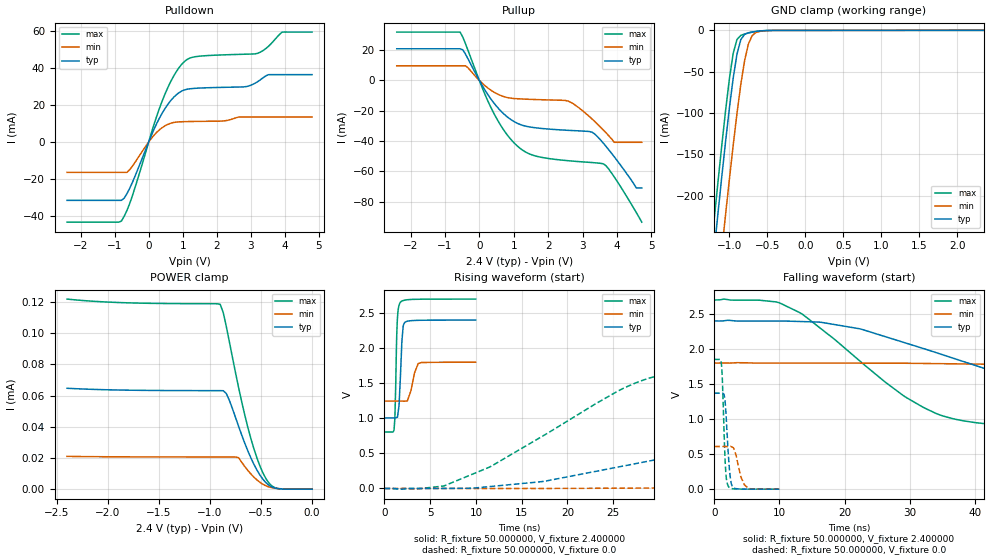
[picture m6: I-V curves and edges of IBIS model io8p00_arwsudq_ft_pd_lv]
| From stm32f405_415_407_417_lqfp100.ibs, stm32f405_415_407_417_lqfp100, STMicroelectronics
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|   Model io8p00_arwsudq_ft_pd_lv
[Model]  io8p00_arwsudq_ft_pd_lv
Model_type I/O
Polarity   Non-Inverting
Enable   Active-Low
Vinl =   0.720000V
Vinh =   1.680000V
Vmeas =  1.200000V
Cref =   50.000000pF
Rref =   100.000000M
Vref =   0.0V
C_comp   2.828000pF   2.774600pF   2.917100pF
[Temperature Range]   25.000000   0.125000k   -40.000000
[Pullup Reference]   2.400000V   1.800000V   2.700000V
[Pulldown Reference]   0.0V   0.0V   0.0V
[POWER Clamp Reference]   2.400000V   1.800000V   2.700000V
[GND Clamp Reference]   0.0V   0.0V   0.0V
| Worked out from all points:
|   slope of the pulldown table from 0 to 0.36 V, typ, clamps not added: 25 ohm
|   slope of the pullup table from 0 to 0.36 V, typ, clamps not added: 27.7 ohm
|   GND clamp passes 1 mA (typ) near -0.62 V on its own axis
|   rising waveform, R_fixture 50.000000, V_fixture 2.400000: 20-80 % time 288ps typ, 617ps min, 205ps max; typ from 1 V to 2.4 V
|   rising waveform, R_fixture 50.000000, V_fixture 0.0: 20-80 % time 30.9ns typ, 81ns min, 14.7ns max; typ from 0 V to 1.37 V
|   falling waveform, R_fixture 50.000000, V_fixture 2.400000: 20-80 % time 29.1ns typ, 75.7ns min, 15.8ns max; typ from 2.4 V to 1 V
|   falling waveform, R_fixture 50.000000, V_fixture 0.0: 20-80 % time 541ps typ, 1ns min, 411ps max; typ from 1.37 V to 0 V
[Pulldown]
|Voltage   I(typ)   I(min)   I(max)
-2.4V     -31.67mA   -16.51mA   -43.52mA
-800mV    -31.67mA   -16.51mA   -42.86mA
-480mV    -21.98mA   -13.17mA   -29.21mA
80mV      3.63mA     1.966mA    5.012mA
480mV     18.15mA    8.738mA    26.02mA
800mV     25.38mA    10.72mA    37.77mA
1.12V     28.53mA    11.02mA    44.6mA
2.8V      29.84mA    13.49mA    47.53mA
3.2V      32.65mA    13.49mA    48.03mA
3.52V     36.46mA    13.49mA    51.84mA
3.92V     36.46mA    13.49mA    59.54mA
4.8V      36.46mA    13.49mA    59.54mA
[Pullup]
|Voltage   I(typ)   I(min)   I(max)
-2.4V     20.89mA    9.66mA     31.89mA
-560mV    20.89mA    9.66mA     31.89mA
-400mV    17.28mA    9.66mA     24.06mA
320mV     -11.75mA   -6.207mA   -17.08mA
960mV     -26.47mA   -11.82mA   -40.02mA
1.52V     -30.88mA   -12.51mA   -49.05mA
2.56V     -32.88mA   -13.48mA   -52.9mA
3.28V     -34.2mA    -25.52mA   -54.18mA
3.6V      -41.32mA   -32.62mA   -54.99mA
3.92V     -50.34mA   -40.8mA    -63.66mA
4.56V     -70.9mA    -40.8mA    -87.12mA
4.72V     -70.9mA    -40.8mA    -93.5mA
[GND_clamp]
|Voltage   I(typ)   I(min)   I(max)
-2.4V     -1.425A    -1.509A    -1.395A
-1.25V    -311.8mA   -402mA     -274.5mA
-1.2V     -266mA     -356.2mA   -228.4mA
-1.15V    -220.9mA   -310.9mA   -183.1mA
-1.1V     -176.9mA   -266.3mA   -139mA
-1.05V    -134.3mA   -222.6mA   -97.01mA
-950mV    -57.82mA   -139.1mA   -27.87mA
-900mV    -28.73mA   -100.5mA   -11.05mA
-850mV    -11.3mA    -65.69mA   -6.068mA
-750mV    -2.863mA   -16.61mA   -3.194mA
-600mV    -761.3uA   -1.176mA   -752.1uA
2.35V     58.09uA    37.92uA    67.25uA
[POWER_clamp]
|Voltage   I(typ)   I(min)   I(max)
-2.4V     64.71uA    21.03uA    121.9uA
-1.86V    63.55uA    20.74uA    119.6uA
-900mV    63.18uA    20.63uA    118.5uA
-870mV    63.14uA    20.63uA    113.2uA
-840mV    61.36uA    20.62uA    104.3uA
-720mV    40.37uA    20.18uA    65.28uA
-630mV    24.69uA    12.08uA    39.85uA
-540mV    12.26uA    5.907uA    20uA
-480mV    6.236uA    3.061uA    10.23uA
-420mV    2.4uA      1.365uA    3.726uA
-360mV    667.9nA    564nA      839.6nA
0V        0A         0A         0A
[Ramp]
| variable   typ   min   max
dV/dt_r  0.82152/30.85408n   0.36215/83.25155n   1.11023/14.65210n
dV/dt_f  0.83652/29.09542n   0.32700/76.06151n   1.13689/15.79924n
R_load = 50.000000
[Rising Waveform]
R_fixture= 50.000000
V_fixture= 2.400000
V_fixture_min= 1.800000
V_fixture_max= 2.700000
|time   V(typ)   V(min)   V(max)
0s        1.005V     1.245V     804.2mV
1.041ns   1.005V     1.245V     830.6mV
1.141ns   1.005V     1.246V     1.028V
1.401ns   1.016V     1.246V     2.389V
1.582ns   1.172V     1.246V     2.606V
1.742ns   1.596V     1.246V     2.654V
2.042ns   2.309V     1.245V     2.678V
2.262ns   2.37V      1.244V     2.684V
3.684ns   2.396V     1.78V      2.696V
9.97ns    2.399V     1.799V     2.699V
[Rising Waveform]
R_fixture= 50.000000
V_fixture= 0.0
V_fixture_min= 0.0
V_fixture_max= 0.0
|time   V(typ)   V(min)   V(max)
0s        1.441uV    362.2nV    16.22uV
6.507ns   624uV      -73.87uV   36.3mV
11.51ns   27.26mV    -48.29uV   306.2mV
25.53ns   305.3mV    4.18mV     1.389V
28.53ns   381.1mV    5.782mV    1.555V
40.54ns   738.9mV    34.16mV    1.776V
56.06ns   1.115V     82.66mV    1.831V
79.58ns   1.313V     191.4mV    1.849V
148.1ns   1.367V     493.1mV    1.851V
249.2ns   1.369V     608.5mV    1.851V
[Falling Waveform]
R_fixture= 50.000000
V_fixture= 2.400000
V_fixture_min= 1.800000
V_fixture_max= 2.700000
|time   V(typ)   V(min)   V(max)
0s        2.399V     1.799V     2.699V
10.01ns   2.397V     1.798V     2.657V
13.51ns   2.39V      1.798V     2.496V
22.02ns   2.292V     1.798V     1.852V
32.03ns   2.007V     1.793V     1.168V
44.04ns   1.643V     1.78V      910.2mV
58.06ns   1.27V      1.726V     852.8mV
81.58ns   1.09V      1.595V     821mV
145.1ns   1.016V     1.345V     804.6mV
249.2ns   1.005V     1.245V     804.2mV
[Falling Waveform]
R_fixture= 50.000000
V_fixture= 0.0
V_fixture_min= 0.0
V_fixture_max= 0.0
|time   V(typ)   V(min)   V(max)
0s        1.369V     608.5mV    1.851V
1.061ns   1.369V     608.4mV    1.821V
1.261ns   1.369V     608.4mV    1.54V
1.682ns   1.24V      608.2mV    389.9mV
1.862ns   989mV      607.9mV    153.4mV
2.142ns   527.5mV    608.1mV    45.3mV
2.503ns   136.8mV    610.4mV    13.07mV
2.983ns   19.72mV    585.1mV    4.286mV
4.645ns   1.241mV    60.56mV    757.2uV
9.97ns    1.441uV    362.2nV    16.22uV
